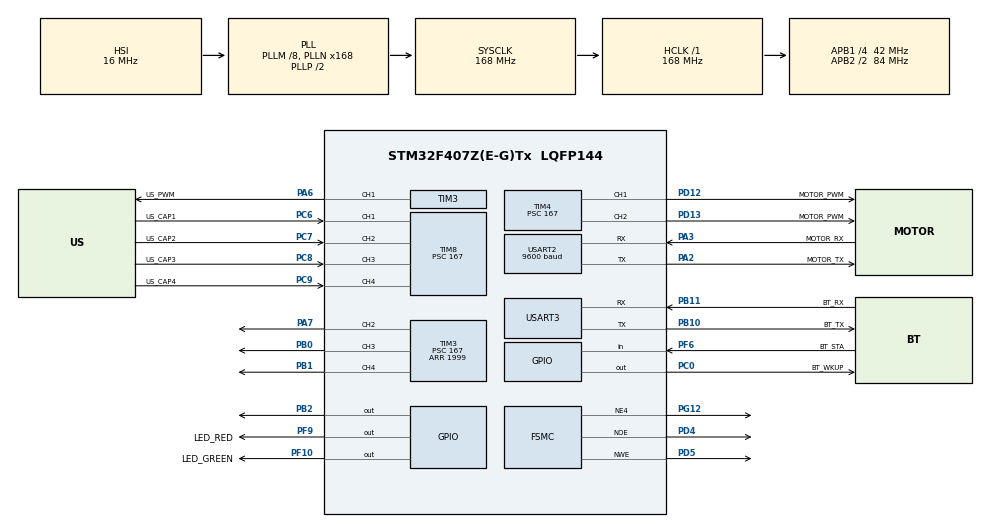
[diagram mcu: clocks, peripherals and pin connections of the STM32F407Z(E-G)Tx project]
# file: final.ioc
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FREERTOS.Tasks01=defaultTask,8,128,StartDefaultTask,Default,NULL,Dynamic,NULL,NULL;TASK_BT,24,128,BTTaskRoutine,Default,NULL,Dynamic,NULL,NULL;TASK_CONTROL,24,128,ControlTaskRoutine,Default,NULL,Dynamic,NULL,NULL;TASK_US,40,128,USTaskRoutine,Default,NULL,Dynamic,NULL,NULL;TASK_LCD,8,128,LCDTaskRountine,Default,NULL,Dynamic,NULL,NULL
FREERTOS.configENABLE_FPU=1
Mcu.Family=STM32F4
Mcu.Name=STM32F407Z(E-G)Tx
Mcu.Package=LQFP144
NVIC.PriorityGroup=NVIC_PRIORITYGROUP_4
NVIC.TIM1_UP_TIM10_IRQn=true\:15\:0\:false\:false\:true\:false\:false\:true\:true
NVIC.TIM8_BRK_TIM12_IRQn=true\:5\:0\:false\:false\:true\:true\:true\:true\:true
NVIC.TIM8_CC_IRQn=true\:5\:0\:true\:false\:true\:false\:true\:true\:true
NVIC.TIM8_TRG_COM_TIM14_IRQn=true\:5\:0\:false\:false\:true\:true\:true\:true\:true
NVIC.TIM8_UP_TIM13_IRQn=true\:5\:0\:false\:false\:true\:true\:true\:true\:true
NVIC.TimeBase=TIM1_UP_TIM10_IRQn
NVIC.TimeBaseIP=TIM1
NVIC.USART3_IRQn=true\:5\:0\:true\:false\:true\:false\:true\:true\:true
PA2.GPIO_Label=MOTOR_TX
PA2.Mode=Asynchronous
PA2.Signal=USART2_TX
PA3.GPIO_Label=MOTOR_RX
PA3.Mode=Asynchronous
PA3.Signal=USART2_RX
PA6.GPIO_Label=US_PWM
PA6.Signal=S_TIM3_CH1
PA7.Signal=S_TIM3_CH2
PB0.Signal=S_TIM3_CH3
PB1.Signal=S_TIM3_CH4
PB10.GPIO_Label=BT_TX
PB10.Mode=Asynchronous
PB10.Signal=USART3_TX
PB11.GPIO_Label=BT_RX
PB11.Mode=Asynchronous
PB11.Signal=USART3_RX
PB2.Signal=GPIO_Output
PC0.GPIO_Label=BT_WKUP
PC0.PinState=GPIO_PIN_SET
PC0.Signal=GPIO_Output
PC6.GPIO_Label=US_CAP1
PC6.GPIO_Speed=GPIO_SPEED_FREQ_HIGH
PC6.Signal=S_TIM8_CH1
PC7.GPIO_Label=US_CAP2
PC7.GPIO_Speed=GPIO_SPEED_FREQ_HIGH
PC7.Signal=S_TIM8_CH2
PC8.GPIO_Label=US_CAP3
PC8.GPIO_Speed=GPIO_SPEED_FREQ_HIGH
PC8.Signal=S_TIM8_CH3
PC9.GPIO_Label=US_CAP4
PC9.GPIO_Speed=GPIO_SPEED_FREQ_HIGH
PC9.Signal=S_TIM8_CH4
PD12.GPIO_Label=MOTOR_PWM
PD12.Signal=S_TIM4_CH1
PD13.GPIO_Label=MOTOR_PWM
PD13.Signal=S_TIM4_CH2
PD4.Signal=FSMC_NOE
PD5.Signal=FSMC_NWE
PF10.GPIO_Label=LED_GREEN
PF10.Signal=GPIO_Output
PF6.GPIO_Label=BT_STA
PF6.Signal=GPIO_Input
PF9.GPIO_Label=LED_RED
PF9.Signal=GPIO_Output
PG12.Mode=NorPsramChipSelect4_1
PG12.Signal=FSMC_NE4
PH0-OSC_IN.Mode=HSE-External-Oscillator
PH0-OSC_IN.Signal=RCC_OSC_IN
PH1-OSC_OUT.Mode=HSE-External-Oscillator
PH1-OSC_OUT.Signal=RCC_OSC_OUT
ProjectManager.HeapSize=0x200
ProjectManager.StackSize=0x400
ProjectManager.TargetToolchain=MDK-ARM V5
RCC.48MHZClocksFreq_Value=84000000
RCC.AHBFreq_Value=168000000
RCC.APB1CLKDivider=RCC_HCLK_DIV4
RCC.APB1Freq_Value=42000000
RCC.APB1TimFreq_Value=84000000
RCC.APB2CLKDivider=RCC_HCLK_DIV2
RCC.APB2Freq_Value=84000000
RCC.APB2TimFreq_Value=168000000
RCC.CortexFreq_Value=168000000
RCC.HCLKFreq_Value=168000000
RCC.HSE_VALUE=8000000
RCC.HSI_VALUE=16000000
RCC.LSE_VALUE=32768
RCC.PLLM=8
RCC.PLLN=168
RCC.SYSCLKFreq_VALUE=168000000
RCC.SYSCLKSource=RCC_SYSCLKSOURCE_PLLCLK
RCC.VCOOutputFreq_Value=336000000
SH.FSMC_NOE.0=FSMC_NOE,Sram1
SH.FSMC_NWE.0=FSMC_NWE,Sram1
SH.S_TIM3_CH1.0=TIM3_CH1,PWM Generation1 CH1
SH.S_TIM3_CH2.0=TIM3_CH2,PWM Generation2 CH2
SH.S_TIM3_CH3.0=TIM3_CH3,PWM Generation3 CH3
SH.S_TIM3_CH4.0=TIM3_CH4,PWM Generation4 CH4
SH.S_TIM4_CH1.0=TIM4_CH1,PWM Generation1 CH1
SH.S_TIM4_CH2.0=TIM4_CH2,PWM Generation2 CH2
SH.S_TIM8_CH1.0=TIM8_CH1,Input_Capture1_from_TI1
SH.S_TIM8_CH2.0=TIM8_CH2,Input_Capture2_from_TI2
SH.S_TIM8_CH3.0=TIM8_CH3,Input_Capture3_from_TI3
SH.S_TIM8_CH4.0=TIM8_CH4,Input_Capture4_from_TI4
TIM3.Channel-PWM\ Generation1\ CH1=TIM_CHANNEL_1
TIM3.Channel-PWM\ Generation2\ CH2=TIM_CHANNEL_2
TIM3.Channel-PWM\ Generation3\ CH3=TIM_CHANNEL_3
TIM3.Channel-PWM\ Generation4\ CH4=TIM_CHANNEL_4
TIM3.Period=1999
TIM3.Prescaler=167
TIM3.Pulse-PWM\ Generation1\ CH1=50
TIM3.Pulse-PWM\ Generation2\ CH2=50
TIM3.Pulse-PWM\ Generation3\ CH3=50
TIM3.Pulse-PWM\ Generation4\ CH4=50
TIM4.Channel-PWM\ Generation1\ CH1=TIM_CHANNEL_1
TIM4.Channel-PWM\ Generation2\ CH2=TIM_CHANNEL_2
TIM4.Period=1000
TIM4.Prescaler=167
TIM4.Pulse-PWM\ Generation1\ CH1=500
TIM4.Pulse-PWM\ Generation2\ CH2=300
TIM8.Channel-Input_Capture1_from_TI1=TIM_CHANNEL_1
TIM8.Channel-Input_Capture2_from_TI2=TIM_CHANNEL_2
TIM8.Channel-Input_Capture3_from_TI3=TIM_CHANNEL_3
TIM8.Channel-Input_Capture4_from_TI4=TIM_CHANNEL_4
TIM8.ICPolarity_CH1=TIM_INPUTCHANNELPOLARITY_BOTHEDGE
TIM8.ICPolarity_CH2=TIM_INPUTCHANNELPOLARITY_BOTHEDGE
TIM8.ICPolarity_CH3=TIM_INPUTCHANNELPOLARITY_BOTHEDGE
TIM8.ICPolarity_CH4=TIM_INPUTCHANNELPOLARITY_BOTHEDGE
TIM8.Prescaler=167
USART2.BaudRate=9600
USART2.VirtualMode=VM_ASYNC
USART3.VirtualMode=VM_ASYNC
VP_FREERTOS_VS_CMSIS_V2.Mode=CMSIS_V2
VP_SYS_VS_tim1.Mode=TIM1
VP_TIM3_VS_ClockSourceINT.Mode=Internal
VP_TIM4_VS_ClockSourceINT.Mode=Internal
VP_TIM8_VS_ClockSourceINT.Mode=Internal
board=custom

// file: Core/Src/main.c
/* USER CODE BEGIN Header */
/**
  ******************************************************************************
  * @file           : main.c
  * @brief          : Main program body
  ******************************************************************************
  * @attention
  *
  * Copyright (c) 2022 STMicroelectronics.
  * All rights reserved.
  *
  * This software is licensed under terms that can be found in the LICENSE file
  * in the root directory of this software component.
  * If no LICENSE file comes with this software, it is provided AS-IS.
  *
  ******************************************************************************
  */
#include "lcd.h"
/* USER CODE END Header */
#include "main.h"
#include "cmsis_os.h"
#include "tim.h"
#include "usart.h"
#include "gpio.h"
#include "fsmc.h"

/* USER CODE BEGIN Includes */
#include "bluetooth.h"
#include "ultrasonic.h"
/* USER CODE END Includes */

/* USER CODE BEGIN PV */
uint8_t btReceived;
/* USER CODE END PV */

void SystemClock_Config(void);
void MX_FREERTOS_Init(void);

int main(void)
{

  /* MCU Configuration--------------------------------------------------------*/

  /* Reset of all peripherals, Initializes the Flash interface and the Systick. */
  HAL_Init();

  /* Configure the system clock */
  SystemClock_Config();

  /* Initialize all configured peripherals */
  MX_GPIO_Init();
  MX_FSMC_Init();
  MX_TIM3_Init();
  MX_TIM4_Init();
  MX_USART2_UART_Init();
  MX_USART3_UART_Init();
  MX_TIM8_Init();
  /* USER CODE BEGIN 2 */
  LCD_Init();
  /* USER CODE END 2 */

  /* Init scheduler */
  osKernelInitialize();  /* Call init function for freertos objects (in freertos.c) */
  MX_FREERTOS_Init();

  /* Start scheduler */
  osKernelStart();

  /* We should never get here as control is now taken by the scheduler */
  /* Infinite loop */
  while (1)
  {

  }
}

void SystemClock_Config(void)
{
  RCC_OscInitTypeDef RCC_OscInitStruct = {0};
  RCC_ClkInitTypeDef RCC_ClkInitStruct = {0};

  /** Configure the main internal regulator output voltage
  */
  __HAL_RCC_PWR_CLK_ENABLE();
  __HAL_PWR_VOLTAGESCALING_CONFIG(PWR_REGULATOR_VOLTAGE_SCALE1);

  /** Initializes the RCC Oscillators according to the specified parameters
  * in the RCC_OscInitTypeDef structure.
  */
  RCC_OscInitStruct.OscillatorType = RCC_OSCILLATORTYPE_HSI;
  RCC_OscInitStruct.HSIState = RCC_HSI_ON;
  RCC_OscInitStruct.HSICalibrationValue = RCC_HSICALIBRATION_DEFAULT;
  RCC_OscInitStruct.PLL.PLLState = RCC_PLL_ON;
  RCC_OscInitStruct.PLL.PLLSource = RCC_PLLSOURCE_HSI;
  RCC_OscInitStruct.PLL.PLLM = 8;
  RCC_OscInitStruct.PLL.PLLN = 168;
  RCC_OscInitStruct.PLL.PLLP = RCC_PLLP_DIV2;
  RCC_OscInitStruct.PLL.PLLQ = 4;
  if (HAL_RCC_OscConfig(&RCC_OscInitStruct) != HAL_OK)
  {
    Error_Handler();
  }

  /** Initializes the CPU, AHB and APB buses clocks
  */
  RCC_ClkInitStruct.ClockType = RCC_CLOCKTYPE_HCLK|RCC_CLOCKTYPE_SYSCLK
                              |RCC_CLOCKTYPE_PCLK1|RCC_CLOCKTYPE_PCLK2;
  RCC_ClkInitStruct.SYSCLKSource = RCC_SYSCLKSOURCE_PLLCLK;
  RCC_ClkInitStruct.AHBCLKDivider = RCC_SYSCLK_DIV1;
  RCC_ClkInitStruct.APB1CLKDivider = RCC_HCLK_DIV4;
  RCC_ClkInitStruct.APB2CLKDivider = RCC_HCLK_DIV2;

  if (HAL_RCC_ClockConfig(&RCC_ClkInitStruct, FLASH_LATENCY_5) != HAL_OK)
  {
    Error_Handler();
  }
}

void HAL_TIM_PeriodElapsedCallback(TIM_HandleTypeDef *htim)
{
  if (htim->Instance == TIM1) {
    HAL_IncTick();
  }
}

void Error_Handler(void)
{
  __disable_irq();
  while (1)
  {
  }
}

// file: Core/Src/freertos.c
/* USER CODE BEGIN Header */
/**
  ******************************************************************************
  * File Name          : freertos.c
  * Description        : Code for freertos applications
  ******************************************************************************
  * @attention
  *
  * Copyright (c) 2022 STMicroelectronics.
  * All rights reserved.
  *
  * This software is licensed under terms that can be found in the LICENSE file
  * in the root directory of this software component.
  * If no LICENSE file comes with this software, it is provided AS-IS.
  *
  ******************************************************************************
  */
/* USER CODE END Header */

#include "FreeRTOS.h"
#include "task.h"
#include "main.h"
#include "cmsis_os.h"

/* USER CODE BEGIN Includes */
#include "lcd.h"
#include "bluetooth.h"
#include "ultrasonic.h"
#include "rs485.h"

#include "stm32f4xx_hal_uart.h"
#include <stdint.h>

/* USER CODE END Includes */

/* USER CODE BEGIN Variables */

const uint16_t unsafeDistance = 500;	//distance car should stop gradually
const uint16_t urgentDistance = 150;		//diatance car should brake

uint8_t us_unsafe;
uint8_t us_urgent;

extern TIM_HandleTypeDef htim3;			//ultrasonic pwm

extern TIM_HandleTypeDef htim4;     //转向

extern TIM_HandleTypeDef htim8;			//ultrasonic capture

extern UART_HandleTypeDef huart2;		//485
extern UART_HandleTypeDef huart3;		//BT

USGROUP_HandleTypeDef husGroup;
MotorSignal_TypeDef signal;
uint8_t btBuffer[BT_COMMAND_LENGTH];
extern uint8_t btReceived;
uint8_t btConnected;

uint8_t emerg_stop[] = {0x01,0x06,0x00,0x20,0x00,0x01,0x49,0xC0};  //紧�?�停�?
uint8_t nor_stop[] = {0x01,0x06,0x00,0x20,0x00,0x00,0x88,0x00};    //正常停止
uint8_t speed_forward[18][13] = {{0x01,0x10,0x00,0x21,0x00,0x02,0x04,0x00,0x00,0x00,0x1E,0xB0,0x73},   //前进，�?�度30~200
																 {0x01,0x10,0x00,0x21,0x00,0x02,0x04,0x00,0x00,0x00,0x28,0x30,0x65},
																 {0x01,0x10,0x00,0x21,0x00,0x02,0x04,0x00,0x00,0x00,0x32,0xB1,0xAE},
																 {0x01,0x10,0x00,0x21,0x00,0x02,0x04,0x00,0x00,0x00,0x3C,0x30,0x6A},
																 {0x01,0x10,0x00,0x21,0x00,0x02,0x04,0x00,0x00,0x00,0x46,0xB1,0x89},
																 {0x01,0x10,0x00,0x21,0x00,0x02,0x04,0x00,0x00,0x00,0x50,0x30,0x47},
																 {0x01,0x10,0x00,0x21,0x00,0x02,0x04,0x00,0x00,0x00,0x5A,0xB0,0x40},
																 {0x01,0x10,0x00,0x21,0x00,0x02,0x04,0x00,0x00,0x00,0x64,0x31,0x90},
																 {0x01,0x10,0x00,0x21,0x00,0x02,0x04,0x00,0x00,0x00,0x6E,0xB1,0x97},
																 {0x01,0x10,0x00,0x21,0x00,0x02,0x04,0x00,0x00,0x00,0x78,0x30,0x59},
																 {0x01,0x10,0x00,0x21,0x00,0x02,0x04,0x00,0x00,0x00,0x82,0xB0,0x1A},
																 {0x01,0x10,0x00,0x21,0x00,0x02,0x04,0x00,0x00,0x00,0x8C,0x31,0xDE},
																 {0x01,0x10,0x00,0x21,0x00,0x02,0x04,0x00,0x00,0x00,0x96,0xB0,0x15},
																 {0x01,0x10,0x00,0x21,0x00,0x02,0x04,0x00,0x00,0x00,0xA0,0x30,0x03},
																 {0x01,0x10,0x00,0x21,0x00,0x02,0x04,0x00,0x00,0x00,0xAA,0xB0,0x04},
																 {0x01,0x10,0x00,0x21,0x00,0x02,0x04,0x00,0x00,0x00,0xB4,0x30,0x0C},
																 {0x01,0x10,0x00,0x21,0x00,0x02,0x04,0x00,0x00,0x00,0xBE,0xB0,0x0B},
																 {0x01,0x10,0x00,0x21,0x00,0x02,0x04,0x00,0x00,0x00,0xC8,0x31,0xED}};
uint8_t speed_reveres[18][13] = { {0x01,0x10,0x00,0x21,0x00,0x02,0x04,0xFF,0xFF,0xFF,0xE2,0xF1,0xE6},     //后�??，�?�度30~200
															 {0x01,0x10,0x00,0x21,0x00,0x02,0x04,0xFF,0xFF,0xFF,0xD8,0x71,0xF5},
															 {0x01,0x10,0x00,0x21,0x00,0x02,0x04,0xFF,0xFF,0xFF,0xCE,0xF0,0x3B},
															 {0x01,0x10,0x00,0x21,0x00,0x02,0x04,0xFF,0xFF,0xFF,0xC4,0x70,0x3C},
															 {0x01,0x10,0x00,0x21,0x00,0x02,0x04,0xFF,0xFF,0xFF,0xBA,0xF0,0x1C},
															 {0x01,0x10,0x00,0x21,0x00,0x02,0x04,0xFF,0xFF,0xFF,0xB0,0x70,0x1B},
															 {0x01,0x10,0x00,0x21,0x00,0x02,0x04,0xFF,0xFF,0xFF,0xA6,0xF1,0xD5},
															 {0x01,0x10,0x00,0x21,0x00,0x02,0x04,0xFF,0xFF,0xFF,0x9C,0x71,0xC6},
															 {0x01,0x10,0x00,0x21,0x00,0x02,0x04,0xFF,0xFF,0xFF,0x92,0xF0,0x02},
															 {0x01,0x10,0x00,0x21,0x00,0x02,0x04,0xFF,0xFF,0xFF,0x88,0x71,0xC9},
															 {0x01,0x10,0x00,0x21,0x00,0x02,0x04,0xFF,0xFF,0xFF,0x7E,0xF1,0x8F},
															 {0x01,0x10,0x00,0x21,0x00,0x02,0x04,0xFF,0xFF,0xFF,0x74,0x71,0x88},
															 {0x01,0x10,0x00,0x21,0x00,0x02,0x04,0xFF,0xFF,0xFF,0x6A,0xF1,0x80},
															 {0x01,0x10,0x00,0x21,0x00,0x02,0x04,0xFF,0xFF,0xFF,0x60,0x71,0x87},
															 {0x01,0x10,0x00,0x21,0x00,0x02,0x04,0xFF,0xFF,0xFF,0x56,0xF1,0x91},
															 {0x01,0x10,0x00,0x21,0x00,0x02,0x04,0xFF,0xFF,0xFF,0x4C,0x70,0x5A},
															 {0x01,0x10,0x00,0x21,0x00,0x02,0x04,0xFF,0xFF,0xFF,0x42,0xF1,0x9E},
															 {0x01,0x10,0x00,0x21,0x00,0x02,0x04,0xFF,0xFF,0xFF,0x38,0x70,0x7D}};

/* USER CODE END Variables */
/* Definitions for defaultTask */
osThreadId_t defaultTaskHandle;
const osThreadAttr_t defaultTask_attributes = {
  .name = "defaultTask",
  .stack_size = 128 * 4,
  .priority = (osPriority_t) osPriorityLow,
};
/* Definitions for TASK_BT */
osThreadId_t TASK_BTHandle;
const osThreadAttr_t TASK_BT_attributes = {
  .name = "TASK_BT",
  .stack_size = 128 * 4,
  .priority = (osPriority_t) osPriorityNormal,
};
/* Definitions for TASK_CONTROL */
osThreadId_t TASK_CONTROLHandle;
const osThreadAttr_t TASK_CONTROL_attributes = {
  .name = "TASK_CONTROL",
  .stack_size = 128 * 4,
  .priority = (osPriority_t) osPriorityNormal,
};
/* Definitions for TASK_US */
osThreadId_t TASK_USHandle;
const osThreadAttr_t TASK_US_attributes = {
  .name = "TASK_US",
  .stack_size = 128 * 4,
  .priority = (osPriority_t) osPriorityHigh,
};
/* Definitions for TASK_LCD */
osThreadId_t TASK_LCDHandle;
const osThreadAttr_t TASK_LCD_attributes = {
  .name = "TASK_LCD",
  .stack_size = 128 * 4,
  .priority = (osPriority_t) osPriorityLow,
};

void StartDefaultTask(void *argument);
void BTTaskRoutine(void *argument);
void ControlTaskRoutine(void *argument);
void USTaskRoutine(void *argument);
void LCDTaskRountine(void *argument);

void MX_FREERTOS_Init(void); /* (MISRA C 2004 rule 8.1) */

void MX_FREERTOS_Init(void) {

  /* Create the thread(s) */
  /* creation of defaultTask */
  defaultTaskHandle = osThreadNew(StartDefaultTask, NULL, &defaultTask_attributes);

  /* creation of TASK_BT */
  TASK_BTHandle = osThreadNew(BTTaskRoutine, NULL, &TASK_BT_attributes);

  /* creation of TASK_CONTROL */
  TASK_CONTROLHandle = osThreadNew(ControlTaskRoutine, NULL, &TASK_CONTROL_attributes);

  /* creation of TASK_US */
  TASK_USHandle = osThreadNew(USTaskRoutine, NULL, &TASK_US_attributes);

  /* creation of TASK_LCD */
  TASK_LCDHandle = osThreadNew(LCDTaskRountine, NULL, &TASK_LCD_attributes);

}

void StartDefaultTask(void *argument)
{
  /* USER CODE BEGIN StartDefaultTask */
  /* Infinite loop */
  for(;;)
  {
		//HAL_GPIO_TogglePin(BT_WKUP_GPIO_Port,BT_WKUP_Pin);
    osDelay(1);
  }
  /* USER CODE END StartDefaultTask */
}

void BTTaskRoutine(void *argument)
{
  /* USER CODE BEGIN BTTaskRoutine */
	MotorSignal_Init(&signal,17,0,1);
	/* BT recevie start */
	HAL_UART_Receive_IT(&huart3, (uint8_t *)btBuffer, BT_COMMAND_LENGTH);
  /* Infinite loop */
  for(;;)
  {
		btConnected = HAL_GPIO_ReadPin(BT_STA_GPIO_Port, BT_STA_Pin);
		if(btReceived == BT_RECEIVED)
		{
			btReceived = BT_WAIT;
			BT_ProcessMessage(btBuffer, &signal);
		}
    osDelay(1);
  }
  /* USER CODE END BTTaskRoutine */
}

void ControlTaskRoutine(void *argument)
{
  /* USER CODE BEGIN ControlTaskRoutine */
  /* Infinite loop */
  for(;;)
  {
		if(signal.modified == 1)
		{
			switch(signal.turningControl)
			{
				case 0:
				{
					HAL_TIM_PWM_Stop(&htim4,TIM_CHANNEL_1);
					HAL_TIM_PWM_Stop(&htim4,TIM_CHANNEL_2);
					break;
				}
				case 1:
				{
					HAL_TIM_PWM_Start(&htim4,TIM_CHANNEL_1);    //左转
					break;
				}
				case 2:
				{
					HAL_TIM_PWM_Start(&htim4,TIM_CHANNEL_2);    //右转
					break;
				}
				default:
				{
					HAL_TIM_PWM_Stop(&htim4,TIM_CHANNEL_1);
					HAL_TIM_PWM_Stop(&htim4,TIM_CHANNEL_2);
				}
			}

			switch(signal.movingControl)
			{
			case 0:
				{
					RS485_Send_Data(nor_stop,8);       //正常停止
					break;
				}
				case 1:
				{
					RS485_Send_Data(speed_forward[signal.speed],13);  //前进

					break;
				}
				case 2:
				{
					RS485_Send_Data(speed_reveres[signal.speed],13);  //后�??
					break;
				}
				default:
					RS485_Send_Data(emerg_stop,8);        //紧�?�停�?
			}
			signal.modified = 0;
		}

		if(us_urgent == 1)
			RS485_Send_Data(emerg_stop,8);
		if(us_unsafe == 1)
			RS485_Send_Data(nor_stop,8);

    osDelay(1);

  }
  /* USER CODE END ControlTaskRoutine */
}

void USTaskRoutine(void *argument)
{
  /* USER CODE BEGIN USTaskRoutine */
	USGROUP_Init(&husGroup, &htim8);
	US_DIRECTION dir1 = US_DIR_FORWARD_LEFT;
	US_DIRECTION dir2 = US_DIR_FORWARD_RIGHT;
	volatile uint16_t dis1 = 4000;
	volatile uint16_t dis2 = 4000;
	HAL_TIM_IC_Start_IT(&htim8,TIM_CHANNEL_1);
	HAL_TIM_IC_Start_IT(&htim8,TIM_CHANNEL_2);
	HAL_TIM_IC_Start_IT(&htim8,TIM_CHANNEL_3);
	HAL_TIM_IC_Start_IT(&htim8,TIM_CHANNEL_4);
	HAL_TIM_PWM_Start(&htim3,TIM_CHANNEL_1);
	HAL_TIM_PWM_Start(&htim3,TIM_CHANNEL_2);
	HAL_TIM_PWM_Start(&htim3,TIM_CHANNEL_3);
	HAL_TIM_PWM_Start(&htim3,TIM_CHANNEL_4);
  /* Infinite loop */
  for(;;)
  {
		if(signal.movingControl == MOTOR_MOVE_FORWARD)
		{
			dir1 = US_DIR_FORWARD_LEFT;
			dir2 = US_DIR_FORWARD_RIGHT;
		}
		else if(signal.movingControl == MOTOR_MOVE_REVERSE)
		{
			dir1 = US_DIR_BACK_LEFT;
			dir2 = US_DIR_BACK_RIGHT;
		}
		else
		{
			dir1 = US_DIR_FORWARD_LEFT;
			dir2 = US_DIR_FORWARD_RIGHT;
			//us_unsafe = 0;
			//us_urgent = 0;
			//osDelay(1);
			//continue;
		}
		if(1)
		{
			dis1 = US_GetDistance(&husGroup, dir1);
			dis2 = US_GetDistance(&husGroup, dir2);
			if((dis1 <= unsafeDistance || dis2 <= unsafeDistance) && us_unsafe == 0)
			{
				us_unsafe = 1;
			}
			else if (us_unsafe == 1 && dis1 > unsafeDistance + 50 && dis2 > unsafeDistance + 50)
			{
				us_unsafe = 0;
			}
			if((dis1 <= urgentDistance || dis2 <= urgentDistance) && us_urgent == 0)
			{
				us_urgent = 1;
			}
			else if (us_urgent == 1 && dis1 > urgentDistance + 25 && dis2 > urgentDistance + 25)
			{
				us_urgent = 0;
			}
		}
		if(us_unsafe == 1)
		{
			HAL_GPIO_WritePin(LED_GREEN_GPIO_Port, LED_GREEN_Pin, GPIO_PIN_RESET);
		}
		else
		{
			HAL_GPIO_WritePin(LED_GREEN_GPIO_Port, LED_GREEN_Pin, GPIO_PIN_SET);
		}
		if(us_urgent == 1)
		{
			HAL_GPIO_WritePin(LED_RED_GPIO_Port, LED_RED_Pin, GPIO_PIN_RESET);
		}
		else
		{
			HAL_GPIO_WritePin(LED_RED_GPIO_Port, LED_RED_Pin, GPIO_PIN_SET);
		}
    osDelay(1);
  }
  /* USER CODE END USTaskRoutine */
}

void LCDTaskRountine(void *argument)
{
  /* USER CODE BEGIN LCDTaskRountine */
  /* Infinite loop */
  for(;;)
  {
	if (us_urgent)
	  LCD_Clear(RED);
	else if (us_unsafe)
	  LCD_Clear(YELLOW);
	else
	  LCD_Clear(WHITE);
    LCD_PrintString(0, 40, 480, 40, 32, "Current Speed: %d rpm", (signal.speed + 3) * 10);
    osDelay(1);
  }
  /* USER CODE END LCDTaskRountine */
}

/* USER CODE BEGIN Application */
void HAL_TIM_IC_CaptureCallback(TIM_HandleTypeDef *htim)
{
	USGROUP_ProcessCapture(&husGroup,htim);
}

void HAL_UART_RxCpltCallback(UART_HandleTypeDef* huart)
{
	if(huart->Instance == USART3)	//bluetooth
	{
		btReceived = BT_RECEIVED;
		HAL_UART_Receive_IT(&huart3, (uint8_t *)btBuffer, BT_COMMAND_LENGTH);
	}
}
/* USER CODE END Application */
